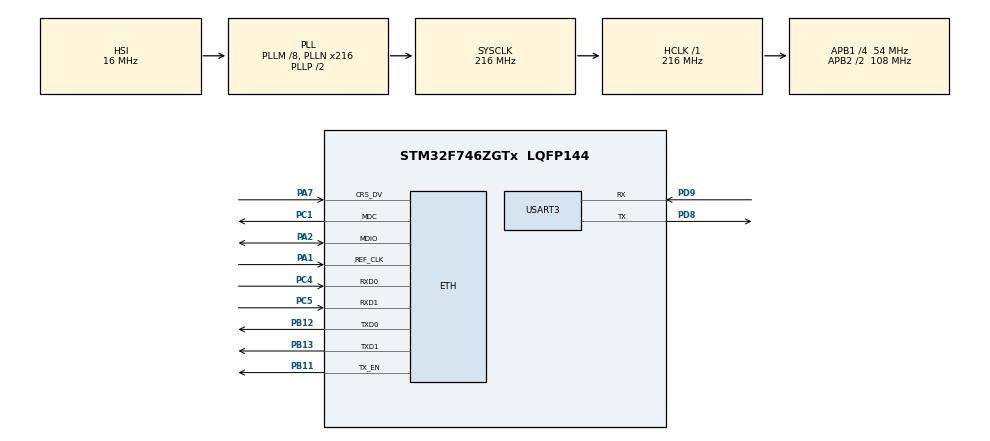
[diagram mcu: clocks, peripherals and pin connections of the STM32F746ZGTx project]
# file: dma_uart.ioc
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Mcu.Family=STM32F7
NVIC.USART3_IRQn=true\:5\:0\:false\:false\:true\:true\:true\:true
Dma.USART3_RX.0.Instance=DMA1_Stream1
Dma.USART3_RX.0.PeriphInc=DMA_PINC_DISABLE
RCC.CortexFreq_Value=216000000
FREERTOS.Tasks01=defaultTask,24,128,StartDefaultTask,Default,NULL,Dynamic,NULL,NULL
PA7.Mode=RMII
PC4.Signal=ETH_RXD0
PD9.Signal=USART3_RX
NVIC.DMA1_Stream1_IRQn=true\:5\:0\:false\:false\:true\:true\:false\:true
PC5.Mode=RMII
RCC.APB1CLKDivider=RCC_HCLK_DIV4
PB11.Signal=ETH_TX_EN
PB13.Signal=ETH_TXD1
PD9.Mode=Asynchronous
RCC.SYSCLKSource=RCC_SYSCLKSOURCE_PLLCLK
ProjectManager.StackSize=0x400
Dma.USART3_RX.0.Mode=DMA_CIRCULAR
VP_LWIP_VS_Enabled.Mode=Enabled
VP_FREERTOS_VS_CMSIS_V2.Mode=CMSIS_V2
USART3.VirtualMode-Asynchronous=VM_ASYNC
PB11.Mode=RMII
ProjectManager.TargetToolchain=STM32CubeIDE
RCC.HCLKFreq_Value=216000000
RCC.APB2TimFreq_Value=216000000
PD8.Signal=USART3_TX
RCC.USBFreq_Value=216000000
RCC.LSE_VALUE=32768
PD8.Mode=Asynchronous
PA1.Signal=ETH_REF_CLK
RCC.AHBFreq_Value=216000000
NVIC.ETH_IRQn=true\:5\:0\:false\:false\:true\:true\:false\:true
RCC.HSE_VALUE=25000000
Dma.USART3_RX.0.MemDataAlignment=DMA_MDATAALIGN_BYTE
board=custom
RCC.VCOOutputFreq_Value=432000000
RCC.APB2Freq_Value=108000000
PA1.Mode=RMII
Dma.USART3_RX.0.PeriphDataAlignment=DMA_PDATAALIGN_BYTE
Dma.USART3_RX.0.FIFOMode=DMA_FIFOMODE_DISABLE
Mcu.Name=STM32F746ZGTx
PA2.Signal=ETH_MDIO
RCC.SYSCLKFreq_VALUE=216000000
Dma.USART3_RX.0.Direction=DMA_PERIPH_TO_MEMORY
Mcu.Package=LQFP144
Dma.USART3_RX.0.Priority=DMA_PRIORITY_LOW
ETH.MediaInterface=ETH_MEDIA_INTERFACE_RMII
PB12.Mode=RMII
ProjectManager.HeapSize=0x200
LWIP.Version=v2.1.2_Cube
Dma.USART3_RX.0.MemInc=DMA_MINC_ENABLE
RCC.HSI_VALUE=16000000
NVIC.PriorityGroup=NVIC_PRIORITYGROUP_4
RCC.APB2CLKDivider=RCC_HCLK_DIV2
RCC.PLLM=8
RCC.PLLN=216
RCC.APB1TimFreq_Value=108000000
PA2.Mode=RMII
PC5.Signal=ETH_RXD1
PB13.Mode=RMII
Dma.Request0=USART3_RX
RCC.APB1Freq_Value=54000000
PC1.Signal=ETH_MDC
PB12.Signal=ETH_TXD0
PC4.Mode=RMII
PC1.Mode=RMII
PA7.Signal=ETH_CRS_DV

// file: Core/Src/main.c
/* USER CODE BEGIN Header */
/**
  ******************************************************************************
  * @file           : main.c
  * @brief          : Main program body
  ******************************************************************************
  * @attention
  *
  * <h2><center>&copy; Copyright (c) 2021 STMicroelectronics.
  * All rights reserved.</center></h2>
  *
  * This software component is licensed by ST under BSD 3-Clause license,
  * the "License"; You may not use this file except in compliance with the
  * License. You may obtain a copy of the License at:
  *                        opensource.org/licenses/BSD-3-Clause
  *
  ******************************************************************************
  */
/* USER CODE END Header */
#include "main.h"
#include "cmsis_os.h"
#include "lwip.h"

/* USER CODE BEGIN Includes */
#include <string.h>
#include "stack_buf.h"
/* USER CODE END Includes */

/* USER CODE BEGIN PD */
#define ARRAY_LEN(x)            (sizeof(x) / sizeof((x)[0]))
/* USER CODE END PD */

/* Definitions for defaultTask */
osThreadId_t defaultTaskHandle;
const osThreadAttr_t defaultTask_attributes = {
  .name = "defaultTask",
  .stack_size = 128 * 4,
  .priority = (osPriority_t) osPriorityNormal,
};
/* USER CODE BEGIN PV */
/* Message queue ID */
osMessageQueueId_t usart_rx_dma_queue_id;
uint8_t usart_rx_dma_buffer[64];
struct Stack* input_stack;
struct Stack* output_stack;
/* USER CODE END PV */

void SystemClock_Config(void);
static void MX_GPIO_Init(void);
static void MX_DMA_Init(void);
static void MX_USART3_UART_Init(void);
void StartDefaultTask(void *argument);

/* USER CODE BEGIN PFP */
void usart_rx_check(void);
void usart_process_data(const void* data, size_t len);
void usart_send_string(const char* str);
/* USER CODE END PFP */

int main(void)
{

  /* MCU Configuration--------------------------------------------------------*/

  /* Reset of all peripherals, Initializes the Flash interface and the Systick. */
  HAL_Init();

  /* Configure the system clock */
  SystemClock_Config();

  /* Initialize all configured peripherals */
  MX_GPIO_Init();
  MX_DMA_Init();
  MX_USART3_UART_Init();

  /* Init scheduler */
  osKernelInitialize();

  /* USER CODE BEGIN RTOS_QUEUES */
  /* add queues, ... */
  usart_rx_dma_queue_id = osMessageQueueNew(10, sizeof(void *), NULL);
  /* USER CODE END RTOS_QUEUES */

  /* Create the thread(s) */
  /* creation of defaultTask */
  defaultTaskHandle = osThreadNew(StartDefaultTask, NULL, &defaultTask_attributes);

  /* Start scheduler */
  osKernelStart();

  /* We should never get here as control is now taken by the scheduler */
  /* Infinite loop */
  while (1)
  {

  }
}

void SystemClock_Config(void)
{
  RCC_OscInitTypeDef RCC_OscInitStruct = {0};
  RCC_ClkInitTypeDef RCC_ClkInitStruct = {0};
  RCC_PeriphCLKInitTypeDef PeriphClkInitStruct = {0};

  /** Configure the main internal regulator output voltage
  */
  __HAL_RCC_PWR_CLK_ENABLE();
  __HAL_PWR_VOLTAGESCALING_CONFIG(PWR_REGULATOR_VOLTAGE_SCALE1);
  /** Initializes the RCC Oscillators according to the specified parameters
  * in the RCC_OscInitTypeDef structure.
  */
  RCC_OscInitStruct.OscillatorType = RCC_OSCILLATORTYPE_HSI;
  RCC_OscInitStruct.HSIState = RCC_HSI_ON;
  RCC_OscInitStruct.HSICalibrationValue = RCC_HSICALIBRATION_DEFAULT;
  RCC_OscInitStruct.PLL.PLLState = RCC_PLL_ON;
  RCC_OscInitStruct.PLL.PLLSource = RCC_PLLSOURCE_HSI;
  RCC_OscInitStruct.PLL.PLLM = 8;
  RCC_OscInitStruct.PLL.PLLN = 216;
  RCC_OscInitStruct.PLL.PLLP = RCC_PLLP_DIV2;
  RCC_OscInitStruct.PLL.PLLQ = 2;
  if (HAL_RCC_OscConfig(&RCC_OscInitStruct) != HAL_OK)
  {
    Error_Handler();
  }
  /** Activate the Over-Drive mode
  */
  if (HAL_PWREx_EnableOverDrive() != HAL_OK)
  {
    Error_Handler();
  }
  /** Initializes the CPU, AHB and APB buses clocks
  */
  RCC_ClkInitStruct.ClockType = RCC_CLOCKTYPE_HCLK|RCC_CLOCKTYPE_SYSCLK
                              |RCC_CLOCKTYPE_PCLK1|RCC_CLOCKTYPE_PCLK2;
  RCC_ClkInitStruct.SYSCLKSource = RCC_SYSCLKSOURCE_PLLCLK;
  RCC_ClkInitStruct.AHBCLKDivider = RCC_SYSCLK_DIV1;
  RCC_ClkInitStruct.APB1CLKDivider = RCC_HCLK_DIV4;
  RCC_ClkInitStruct.APB2CLKDivider = RCC_HCLK_DIV2;

  if (HAL_RCC_ClockConfig(&RCC_ClkInitStruct, FLASH_LATENCY_7) != HAL_OK)
  {
    Error_Handler();
  }
  PeriphClkInitStruct.PeriphClockSelection = RCC_PERIPHCLK_USART3;
  PeriphClkInitStruct.Usart3ClockSelection = RCC_USART3CLKSOURCE_PCLK1;
  if (HAL_RCCEx_PeriphCLKConfig(&PeriphClkInitStruct) != HAL_OK)
  {
    Error_Handler();
  }
}

static void MX_USART3_UART_Init(void)
{

  LL_USART_InitTypeDef USART_InitStruct = {0};

  LL_GPIO_InitTypeDef GPIO_InitStruct = {0};

  /* Peripheral clock enable */
  LL_APB1_GRP1_EnableClock(LL_APB1_GRP1_PERIPH_USART3);

  LL_AHB1_GRP1_EnableClock(LL_AHB1_GRP1_PERIPH_GPIOD);
  /**USART3 GPIO Configuration
  PD8   ------> USART3_TX
  PD9   ------> USART3_RX
  */
  GPIO_InitStruct.Pin = LL_GPIO_PIN_8;
  GPIO_InitStruct.Mode = LL_GPIO_MODE_ALTERNATE;
  GPIO_InitStruct.Speed = LL_GPIO_SPEED_FREQ_VERY_HIGH;
  GPIO_InitStruct.OutputType = LL_GPIO_OUTPUT_PUSHPULL;
  GPIO_InitStruct.Pull = LL_GPIO_PULL_NO;
  GPIO_InitStruct.Alternate = LL_GPIO_AF_7;
  LL_GPIO_Init(GPIOD, &GPIO_InitStruct);

  GPIO_InitStruct.Pin = LL_GPIO_PIN_9;
  GPIO_InitStruct.Mode = LL_GPIO_MODE_ALTERNATE;
  GPIO_InitStruct.Speed = LL_GPIO_SPEED_FREQ_VERY_HIGH;
  GPIO_InitStruct.OutputType = LL_GPIO_OUTPUT_PUSHPULL;
  GPIO_InitStruct.Pull = LL_GPIO_PULL_NO;
  GPIO_InitStruct.Alternate = LL_GPIO_AF_7;
  LL_GPIO_Init(GPIOD, &GPIO_InitStruct);

  /* USART3 DMA Init */

  /* USART3_RX Init */
  LL_DMA_SetChannelSelection(DMA1, LL_DMA_STREAM_1, LL_DMA_CHANNEL_4);

  LL_DMA_SetDataTransferDirection(DMA1, LL_DMA_STREAM_1, LL_DMA_DIRECTION_PERIPH_TO_MEMORY);

  LL_DMA_SetStreamPriorityLevel(DMA1, LL_DMA_STREAM_1, LL_DMA_PRIORITY_LOW);

  LL_DMA_SetMode(DMA1, LL_DMA_STREAM_1, LL_DMA_MODE_CIRCULAR);

  LL_DMA_SetPeriphIncMode(DMA1, LL_DMA_STREAM_1, LL_DMA_PERIPH_NOINCREMENT);

  LL_DMA_SetMemoryIncMode(DMA1, LL_DMA_STREAM_1, LL_DMA_MEMORY_INCREMENT);

  LL_DMA_SetPeriphSize(DMA1, LL_DMA_STREAM_1, LL_DMA_PDATAALIGN_BYTE);

  LL_DMA_SetMemorySize(DMA1, LL_DMA_STREAM_1, LL_DMA_MDATAALIGN_BYTE);

  LL_DMA_DisableFifoMode(DMA1, LL_DMA_STREAM_1);

  /* USART3 interrupt Init */
  NVIC_SetPriority(USART3_IRQn, NVIC_EncodePriority(NVIC_GetPriorityGrouping(),5, 0));
  NVIC_EnableIRQ(USART3_IRQn);

  /* USER CODE BEGIN USART3_Init 1 */
  LL_DMA_SetPeriphAddress(DMA1, LL_DMA_STREAM_1, (uint32_t)&USART3->RDR);
  LL_DMA_SetMemoryAddress(DMA1, LL_DMA_STREAM_1, (uint32_t)usart_rx_dma_buffer);
  LL_DMA_SetDataLength(DMA1, LL_DMA_STREAM_1, ARRAY_LEN(usart_rx_dma_buffer));

  /* Enable HT & TC interrupts */
  LL_DMA_EnableIT_HT(DMA1, LL_DMA_STREAM_1);
  LL_DMA_EnableIT_TC(DMA1, LL_DMA_STREAM_1);

  LL_USART_EnableDMAReq_RX(USART3);
  LL_USART_EnableIT_IDLE(USART3);
  LL_DMA_EnableStream(DMA1, LL_DMA_STREAM_1);

  /* USER CODE END USART3_Init 1 */
  USART_InitStruct.BaudRate = 115200;
  USART_InitStruct.DataWidth = LL_USART_DATAWIDTH_8B;
  USART_InitStruct.StopBits = LL_USART_STOPBITS_1;
  USART_InitStruct.Parity = LL_USART_PARITY_NONE;
  USART_InitStruct.TransferDirection = LL_USART_DIRECTION_TX_RX;
  USART_InitStruct.HardwareFlowControl = LL_USART_HWCONTROL_NONE;
  USART_InitStruct.OverSampling = LL_USART_OVERSAMPLING_16;
  LL_USART_Init(USART3, &USART_InitStruct);
  LL_USART_ConfigAsyncMode(USART3);
  LL_USART_Enable(USART3);

}

static void MX_DMA_Init(void)
{

  /* Init with LL driver */
  /* DMA controller clock enable */
  LL_AHB1_GRP1_EnableClock(LL_AHB1_GRP1_PERIPH_DMA1);

  /* DMA interrupt init */
  /* DMA1_Stream1_IRQn interrupt configuration */
  NVIC_SetPriority(DMA1_Stream1_IRQn, NVIC_EncodePriority(NVIC_GetPriorityGrouping(),5, 0));
  NVIC_EnableIRQ(DMA1_Stream1_IRQn);

}

static void MX_GPIO_Init(void)
{

  /* GPIO Ports Clock Enable */
  __HAL_RCC_GPIOC_CLK_ENABLE();
  __HAL_RCC_GPIOA_CLK_ENABLE();
  __HAL_RCC_GPIOB_CLK_ENABLE();
  __HAL_RCC_GPIOD_CLK_ENABLE();

}

/* USER CODE BEGIN 4 */
void usart_rx_check(void) {
  static size_t old_pos;
  size_t pos;

  /* Calculate current position in buffer */
  pos = ARRAY_LEN(usart_rx_dma_buffer) - LL_DMA_GetDataLength(DMA1, LL_DMA_STREAM_1);
  if (pos != old_pos) {                       /* Check change in received data */
    if (pos > old_pos) {                    /* Current position is over previous one */
        /* We are in "linear" mode */
        /* Process data directly by subtracting "pointers" */
        usart_process_data(&usart_rx_dma_buffer[old_pos], pos - old_pos);
    } else {
        /* We are in "overflow" mode */
        /* First process data to the end of buffer */
        usart_process_data(&usart_rx_dma_buffer[old_pos], ARRAY_LEN(usart_rx_dma_buffer) - old_pos);
        /* Check and continue with beginning of buffer */
        if (pos > 0) {
            usart_process_data(&usart_rx_dma_buffer[0], pos);
        }
    }
    old_pos = pos;                          /* Save current position as old */
  }
}

void usart_process_data(const void* data, size_t len) {
  const uint8_t* d = data;
  char c;

  /*
    * This function is called on DMA TC and HT events, aswell as on UART IDLE (if enabled) line event.
    *
    * For the sake of this example, function does a loop-back data over UART in polling mode.
    * Check ringbuff RX-based example for implementation with TX & RX DMA transfer.
    */

  for (; len > 0; --len, ++d) {
    if (*d == '\b'){
      pop(input_stack);
    }
    else if (*d == '\r') {
      usart_send_string("your message: ");
      while(!isEmpty(input_stack)){
        push(output_stack,pop(input_stack));
      }

      while(!isEmpty(output_stack)){
        c = pop(output_stack);
        LL_USART_TransmitData8(USART3, c);
        while (!LL_USART_IsActiveFlag_TXE(USART3)) {};
      }
      usart_send_string("\r\n");
      while (!LL_USART_IsActiveFlag_TC(USART3)) {}
    }
    else {
      push(input_stack,(char)*d);
    }
  }
}

void usart_send_string(const char* str) {
    const uint8_t* d = (uint8_t*)str;
    size_t len = strlen(str);

    /*
     * This function is called on DMA TC and HT events, aswell as on UART IDLE (if enabled) line event.
     *
     * For the sake of this example, function does a loop-back data over UART in polling mode.
     * Check ringbuff RX-based example for implementation with TX & RX DMA transfer.
     */

    for (; len > 0; --len, ++d) {
        LL_USART_TransmitData8(USART3, *d);
        while (!LL_USART_IsActiveFlag_TXE(USART3)) {}
    }
    while (!LL_USART_IsActiveFlag_TC(USART3)) {}
}

/* USER CODE END 4 */

void StartDefaultTask(void *argument)
{
  /* init code for LWIP */
  MX_LWIP_Init();
  /* USER CODE BEGIN 5 */
  void* d;
  input_stack = createStack(100);
  output_stack = createStack(100);

  /* Notify user to start sending data */
  usart_send_string("USART DMA example: DMA HT & TC + USART IDLE LINE IRQ + RTOS processing\r\n");
  usart_send_string("Start sending data to STM32\r\n");
  /* Infinite loop */
  for(;;)
  {
    osDelay(1);
    /* Block thread and wait for event to process USART data */
    osMessageQueueGet(usart_rx_dma_queue_id, &d, NULL, osWaitForever);

    /* Simply call processing function */
    usart_rx_check();

    (void)d;
  }
  /* USER CODE END 5 */
}

void Error_Handler(void)
{
  __disable_irq();
  while (1)
  {
  }
}

/************************ (C) COPYRIGHT STMicroelectronics *****END OF FILE****/
